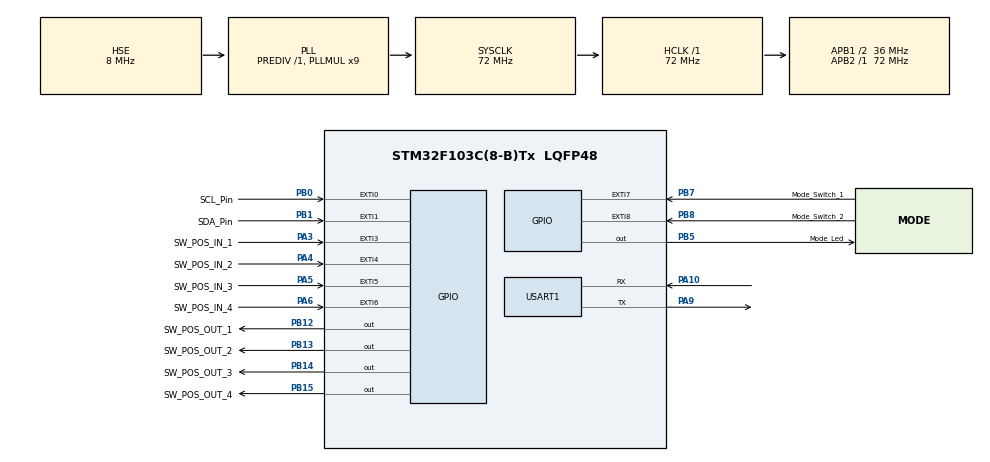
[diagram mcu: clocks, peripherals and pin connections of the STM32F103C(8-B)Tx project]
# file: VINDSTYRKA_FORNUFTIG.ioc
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Mcu.Family=STM32F1
Mcu.Name=STM32F103C(8-B)Tx
Mcu.Package=LQFP48
NVIC.EXTI0_IRQn=true\:0\:0\:false\:false\:true\:true\:true\:true
NVIC.EXTI1_IRQn=true\:0\:0\:false\:false\:true\:true\:true\:true
NVIC.EXTI3_IRQn=true\:0\:0\:false\:false\:true\:true\:true\:true
NVIC.EXTI4_IRQn=true\:0\:0\:false\:false\:true\:true\:true\:true
NVIC.EXTI9_5_IRQn=true\:0\:0\:false\:false\:true\:true\:true\:true
NVIC.PriorityGroup=NVIC_PRIORITYGROUP_4
PA10.Mode=Asynchronous
PA10.Signal=USART1_RX
PA13.Mode=Serial_Wire
PA13.Signal=SYS_JTMS-SWDIO
PA14.Mode=Serial_Wire
PA14.Signal=SYS_JTCK-SWCLK
PA3.GPIO_Label=SW_POS_IN_1
PA3.GPIO_ModeDefaultEXTI=GPIO_MODE_IT_FALLING
PA3.GPIO_PuPd=GPIO_PULLUP
PA3.Signal=GPXTI3
PA4.GPIO_Label=SW_POS_IN_2
PA4.GPIO_ModeDefaultEXTI=GPIO_MODE_IT_FALLING
PA4.GPIO_PuPd=GPIO_PULLUP
PA4.Signal=GPXTI4
PA5.GPIO_Label=SW_POS_IN_3
PA5.GPIO_ModeDefaultEXTI=GPIO_MODE_IT_FALLING
PA5.GPIO_PuPd=GPIO_PULLUP
PA5.Signal=GPXTI5
PA6.GPIO_Label=SW_POS_IN_4
PA6.GPIO_ModeDefaultEXTI=GPIO_MODE_IT_FALLING
PA6.GPIO_PuPd=GPIO_PULLUP
PA6.Signal=GPXTI6
PA9.Mode=Asynchronous
PA9.Signal=USART1_TX
PB0.GPIO_Label=SCL_Pin
PB0.Signal=GPXTI0
PB1.GPIO_Label=SDA_Pin
PB1.GPIO_ModeDefaultEXTI=GPIO_MODE_IT_FALLING
PB1.Signal=GPXTI1
PB12.GPIO_Label=SW_POS_OUT_1
PB12.GPIO_ModeDefaultOutputPP=GPIO_MODE_OUTPUT_OD
PB12.GPIO_PuPd=GPIO_NOPULL
PB12.PinState=GPIO_PIN_RESET
PB12.Signal=GPIO_Output
PB13.GPIO_Label=SW_POS_OUT_2
PB13.GPIO_ModeDefaultOutputPP=GPIO_MODE_OUTPUT_OD
PB13.GPIO_PuPd=GPIO_NOPULL
PB13.Signal=GPIO_Output
PB14.GPIO_Label=SW_POS_OUT_3
PB14.GPIO_ModeDefaultOutputPP=GPIO_MODE_OUTPUT_OD
PB14.GPIO_PuPd=GPIO_NOPULL
PB14.Signal=GPIO_Output
PB15.GPIO_Label=SW_POS_OUT_4
PB15.GPIO_ModeDefaultOutputPP=GPIO_MODE_OUTPUT_OD
PB15.GPIO_PuPd=GPIO_NOPULL
PB15.Signal=GPIO_Output
PB5.GPIO_Label=Mode_Led
PB5.Signal=GPIO_Output
PB7.GPIO_Label=Mode_Switch_1
PB7.GPIO_ModeDefaultEXTI=GPIO_MODE_IT_RISING_FALLING
PB7.GPIO_PuPd=GPIO_PULLUP
PB7.Signal=GPXTI7
PB8.GPIO_Label=Mode_Switch_2
PB8.GPIO_ModeDefaultEXTI=GPIO_MODE_IT_RISING_FALLING
PB8.GPIO_PuPd=GPIO_PULLUP
PB8.Signal=GPXTI8
PC14-OSC32_IN.Mode=LSE-External-Oscillator
PC14-OSC32_IN.Signal=RCC_OSC32_IN
PC15-OSC32_OUT.Mode=LSE-External-Oscillator
PC15-OSC32_OUT.Signal=RCC_OSC32_OUT
PD0-OSC_IN.Mode=HSE-External-Oscillator
PD0-OSC_IN.Signal=RCC_OSC_IN
PD1-OSC_OUT.Mode=HSE-External-Oscillator
PD1-OSC_OUT.Signal=RCC_OSC_OUT
ProjectManager.HeapSize=0x200
ProjectManager.StackSize=0x400
ProjectManager.TargetToolchain=STM32CubeIDE
RCC.AHBFreq_Value=72000000
RCC.APB1CLKDivider=RCC_HCLK_DIV2
RCC.APB1Freq_Value=36000000
RCC.APB1TimFreq_Value=72000000
RCC.APB2Freq_Value=72000000
RCC.APB2TimFreq_Value=72000000
RCC.HCLKFreq_Value=72000000
RCC.PLLMUL=RCC_PLL_MUL9
RCC.PLLSourceVirtual=RCC_PLLSOURCE_HSE
RCC.RTCClockSelection=RCC_RTCCLKSOURCE_LSE
RCC.SYSCLKFreq_VALUE=72000000
RCC.SYSCLKSource=RCC_SYSCLKSOURCE_PLLCLK
RCC.USBFreq_Value=72000000
USART1.VirtualMode=VM_ASYNC
board=custom

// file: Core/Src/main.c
/* USER CODE BEGIN Header */
/**
  ******************************************************************************
  * @file           : main.c
  * @brief          : Main program body
  ******************************************************************************
  * @attention
  *
  * Copyright (c) 2024 STMicroelectronics.
  * All rights reserved.
  *
  * This software is licensed under terms that can be found in the LICENSE file
  * in the root directory of this software component.
  * If no LICENSE file comes with this software, it is provided AS-IS.
  *
  ******************************************************************************
  */
/* USER CODE END Header */
#include "main.h"

/* USER CODE BEGIN Includes */
#include "stdbool.h"
#include "Com.h"

//#include "I2C_Sniffer.h"
/* USER CODE END Includes */

/* USER CODE BEGIN PTD */
struct __attribute__((packed)) Measurement_Data { //
	uint8_t Size;
	uint16_t PM10;
	uint8_t PM10_CS;
	uint16_t PM25;
	uint8_t PM25_CS;
	uint16_t PM40;
	uint8_t PM40_CS;
	uint16_t PM100;
	uint8_t PM100_CS;
	uint16_t HUM;
	uint8_t HUM_CS;
	uint16_t TEMP;
	uint8_t TEMP_CS;
	uint16_t VOC;
	uint8_t VOC_CS;
};
/* USER CODE END PTD */

/* USER CODE BEGIN PV */
uint8_t I2C_Reset_Counter = 0;

char bufferH_[ReceiveSize];				//physical location of data being handled
void *BufferH;							//pointer to location of data being handled

/* USER CODE END PV */

void SystemClock_Config(void);
static void MX_GPIO_Init(void);
static void MX_USART1_UART_Init(void);

/* USER CODE BEGIN 0 */

void Transmit(void* bufferT, uint8_t Length_p, USART_TypeDef* USART_P) // transmit info over uart debug port
  {
		volatile static uint8_t i;

		for (i = 0; i < Length_p; i++)
		{
			while ( !(READ_BIT(USART_P->SR, USART_SR_TXE)));
			USART_P->DR = *((uint8_t*)(bufferT+i));
		}

  }

void HAL_GPIO_EXTI_Callback(uint16_t GPIO_Pin)
{

	if( GPIO_Pin == SCL_Pin_Pin || GPIO_Pin == SDA_Pin_Pin )
	{
		Check_Interupt(GPIO_Pin);
		I2C_Reset_Counter = 0;
	}

	if ( GPIO_Pin == Mode_Switch_1_Pin || GPIO_Pin == Mode_Switch_2_Pin )
	{
		_EventSet_Mode_Switch_Update();
	}
	if ( GPIO_Pin == SW_POS_IN_1_Pin || GPIO_Pin == SW_POS_IN_2_Pin	|| GPIO_Pin == SW_POS_IN_3_Pin || GPIO_Pin == SW_POS_IN_4_Pin )
	{
		_EventSet_Speed_Switch_Update();
	}
}

void HAL_IncTick(void)
{
  uwTick += uwTickFreq;
	I2C_Reset_Counter++;
	if ( I2C_Reset_Counter > I2C_Reset_Count )
	{
		I2C_Reset_Counter = 0;
		_EventSet_I2C_Reset();
		//I2C_Timer_Reset();
	}
}

void Enable_Interupts(void)
{
	  HAL_NVIC_SetPriority(EXTI0_IRQn, 0, 0);
	  HAL_NVIC_EnableIRQ(EXTI0_IRQn);

	  HAL_NVIC_SetPriority(EXTI1_IRQn, 0, 0);
	  HAL_NVIC_EnableIRQ(EXTI1_IRQn);

	  HAL_NVIC_SetPriority(EXTI3_IRQn, 0, 0);
	  HAL_NVIC_EnableIRQ(EXTI3_IRQn);

	  HAL_NVIC_SetPriority(EXTI4_IRQn, 0, 0);
	  HAL_NVIC_EnableIRQ(EXTI4_IRQn);

	  HAL_NVIC_SetPriority(EXTI9_5_IRQn, 0, 0);
	  HAL_NVIC_EnableIRQ(EXTI9_5_IRQn);
}

/* USER CODE END 0 */

int main(void)
{

  /* USER CODE BEGIN 1 */
  _Init_Events();
  Init_Values();
  /* USER CODE END 1 */

  /* MCU Configuration--------------------------------------------------------*/

  /* Reset of all peripherals, Initializes the Flash interface and the Systick. */
  HAL_Init();

  /* Configure the system clock */
  SystemClock_Config();

  /* Initialize all configured peripherals */
  MX_GPIO_Init();
  MX_USART1_UART_Init();
  /* USER CODE BEGIN 2 */

  I2C_Init();
  InitCom();
  BufferH = &bufferH_;	//bind pointer to physical location
  /* USER CODE END 2 */

  /* Infinite loop */
  /* USER CODE BEGIN WHILE */
  _EventSet_Mode_Switch_Update();
  _EventSet_Speed_Switch_Update();
  //Enable_Interupts();
  while (1)
  {
	  while ( R_Pop(&BufferH) ) // check if an message is available in the circular buffer
	  {
		  volatile uint8_t size = *(uint8_t *)BufferH; // get the first byte from the buffer this holds the size of the packet
		  //size = size;
		  //Transmit((uint8_t *)BufferH, size, USART2); // transmit the buffer over the debug uart port
		  if (size == 21)
		  {
			  struct Measurement_Data *Measurement_Data = (void *) BufferH;
			  set_tvoc(Measurement_Data->VOC);
			  set_PM25(Measurement_Data->PM25);
			  set_PM1(Measurement_Data->PM10);
			  if ( Get_Device_Mode_State() != Manual)
				  _EventSet_Output_Update();
			  Transmit(Measurement_Data, sizeof(struct Measurement_Data), USART1); // transmit the buffer over the debug uart port
//			  Transmit((uint8_t *)BufferH, size + 1, USART2);
//			  Transmit((uint8_t *)(Measurement_Data->VOC), sizeof(Measurement_Data->VOC), USART1);
//			  Transmit((uint8_t *)(Measurement_Data->PM25), sizeof(Measurement_Data->PM25), USART1);
//			  Transmit((uint8_t *)(Measurement_Data->PM10), sizeof(Measurement_Data->PM10), USART1);
		  } // could make packets for all the data block but am to lazy
		 /* if (size == 9 || size == 12 || size == 21 || size == 3)
		  {
			  Transmit((uint8_t *)BufferH, size + 1, USART1);
		  }*/
	  }
	  Handle_Events();

    /* USER CODE END WHILE */

  }
}

void SystemClock_Config(void)
{
  RCC_OscInitTypeDef RCC_OscInitStruct = {0};
  RCC_ClkInitTypeDef RCC_ClkInitStruct = {0};

  /** Initializes the RCC Oscillators according to the specified parameters
  * in the RCC_OscInitTypeDef structure.
  */
  RCC_OscInitStruct.OscillatorType = RCC_OSCILLATORTYPE_HSE;
  RCC_OscInitStruct.HSEState = RCC_HSE_ON;
  RCC_OscInitStruct.HSEPredivValue = RCC_HSE_PREDIV_DIV1;
  RCC_OscInitStruct.HSIState = RCC_HSI_ON;
  RCC_OscInitStruct.PLL.PLLState = RCC_PLL_ON;
  RCC_OscInitStruct.PLL.PLLSource = RCC_PLLSOURCE_HSE;
  RCC_OscInitStruct.PLL.PLLMUL = RCC_PLL_MUL9;
  if (HAL_RCC_OscConfig(&RCC_OscInitStruct) != HAL_OK)
  {
    Error_Handler();
  }

  /** Initializes the CPU, AHB and APB buses clocks
  */
  RCC_ClkInitStruct.ClockType = RCC_CLOCKTYPE_HCLK|RCC_CLOCKTYPE_SYSCLK
                              |RCC_CLOCKTYPE_PCLK1|RCC_CLOCKTYPE_PCLK2;
  RCC_ClkInitStruct.SYSCLKSource = RCC_SYSCLKSOURCE_PLLCLK;
  RCC_ClkInitStruct.AHBCLKDivider = RCC_SYSCLK_DIV1;
  RCC_ClkInitStruct.APB1CLKDivider = RCC_HCLK_DIV2;
  RCC_ClkInitStruct.APB2CLKDivider = RCC_HCLK_DIV1;

  if (HAL_RCC_ClockConfig(&RCC_ClkInitStruct, FLASH_LATENCY_2) != HAL_OK)
  {
    Error_Handler();
  }
}

static void MX_USART1_UART_Init(void)
{

  LL_USART_InitTypeDef USART_InitStruct = {0};

  LL_GPIO_InitTypeDef GPIO_InitStruct = {0};

  /* Peripheral clock enable */
  LL_APB2_GRP1_EnableClock(LL_APB2_GRP1_PERIPH_USART1);

  LL_APB2_GRP1_EnableClock(LL_APB2_GRP1_PERIPH_GPIOA);
  /**USART1 GPIO Configuration
  PA9   ------> USART1_TX
  PA10   ------> USART1_RX
  */
  GPIO_InitStruct.Pin = LL_GPIO_PIN_9;
  GPIO_InitStruct.Mode = LL_GPIO_MODE_ALTERNATE;
  GPIO_InitStruct.Speed = LL_GPIO_SPEED_FREQ_HIGH;
  GPIO_InitStruct.OutputType = LL_GPIO_OUTPUT_PUSHPULL;
  LL_GPIO_Init(GPIOA, &GPIO_InitStruct);

  GPIO_InitStruct.Pin = LL_GPIO_PIN_10;
  GPIO_InitStruct.Mode = LL_GPIO_MODE_FLOATING;
  LL_GPIO_Init(GPIOA, &GPIO_InitStruct);

  USART_InitStruct.BaudRate = 115200;
  USART_InitStruct.DataWidth = LL_USART_DATAWIDTH_8B;
  USART_InitStruct.StopBits = LL_USART_STOPBITS_1;
  USART_InitStruct.Parity = LL_USART_PARITY_NONE;
  USART_InitStruct.TransferDirection = LL_USART_DIRECTION_TX_RX;
  USART_InitStruct.HardwareFlowControl = LL_USART_HWCONTROL_NONE;
  USART_InitStruct.OverSampling = LL_USART_OVERSAMPLING_16;
  LL_USART_Init(USART1, &USART_InitStruct);
  LL_USART_ConfigAsyncMode(USART1);
  LL_USART_Enable(USART1);

}

static void MX_GPIO_Init(void)
{
  GPIO_InitTypeDef GPIO_InitStruct = {0};

  /* GPIO Ports Clock Enable */
  __HAL_RCC_GPIOC_CLK_ENABLE();
  __HAL_RCC_GPIOD_CLK_ENABLE();
  __HAL_RCC_GPIOA_CLK_ENABLE();
  __HAL_RCC_GPIOB_CLK_ENABLE();

  /*Configure GPIO pin Output Level */
  HAL_GPIO_WritePin(GPIOB, SW_POS_OUT_1_Pin|SW_POS_OUT_2_Pin|SW_POS_OUT_3_Pin|SW_POS_OUT_4_Pin
                          |Mode_Led_Pin, GPIO_PIN_RESET);

  /*Configure GPIO pins : SW_POS_IN_1_Pin SW_POS_IN_2_Pin SW_POS_IN_3_Pin SW_POS_IN_4_Pin */
  GPIO_InitStruct.Pin = SW_POS_IN_1_Pin|SW_POS_IN_2_Pin|SW_POS_IN_3_Pin|SW_POS_IN_4_Pin;
  GPIO_InitStruct.Mode = GPIO_MODE_IT_FALLING;
  GPIO_InitStruct.Pull = GPIO_PULLUP;
  HAL_GPIO_Init(GPIOA, &GPIO_InitStruct);

  /*Configure GPIO pin : SCL_Pin_Pin */
  GPIO_InitStruct.Pin = SCL_Pin_Pin;
  GPIO_InitStruct.Mode = GPIO_MODE_IT_RISING;
  GPIO_InitStruct.Pull = GPIO_NOPULL;
  HAL_GPIO_Init(SCL_Pin_GPIO_Port, &GPIO_InitStruct);

  /*Configure GPIO pin : SDA_Pin_Pin */
  GPIO_InitStruct.Pin = SDA_Pin_Pin;
  GPIO_InitStruct.Mode = GPIO_MODE_IT_FALLING;
  GPIO_InitStruct.Pull = GPIO_NOPULL;
  HAL_GPIO_Init(SDA_Pin_GPIO_Port, &GPIO_InitStruct);

  /*Configure GPIO pins : SW_POS_OUT_1_Pin SW_POS_OUT_2_Pin SW_POS_OUT_3_Pin SW_POS_OUT_4_Pin */
  GPIO_InitStruct.Pin = SW_POS_OUT_1_Pin|SW_POS_OUT_2_Pin|SW_POS_OUT_3_Pin|SW_POS_OUT_4_Pin;
  GPIO_InitStruct.Mode = GPIO_MODE_OUTPUT_OD;
  GPIO_InitStruct.Pull = GPIO_NOPULL;
  GPIO_InitStruct.Speed = GPIO_SPEED_FREQ_LOW;
  HAL_GPIO_Init(GPIOB, &GPIO_InitStruct);

  /*Configure GPIO pin : Mode_Led_Pin */
  GPIO_InitStruct.Pin = Mode_Led_Pin;
  GPIO_InitStruct.Mode = GPIO_MODE_OUTPUT_PP;
  GPIO_InitStruct.Pull = GPIO_NOPULL;
  GPIO_InitStruct.Speed = GPIO_SPEED_FREQ_LOW;
  HAL_GPIO_Init(Mode_Led_GPIO_Port, &GPIO_InitStruct);

  /*Configure GPIO pins : Mode_Switch_1_Pin Mode_Switch_2_Pin */
  GPIO_InitStruct.Pin = Mode_Switch_1_Pin|Mode_Switch_2_Pin;
  GPIO_InitStruct.Mode = GPIO_MODE_IT_RISING_FALLING;
  GPIO_InitStruct.Pull = GPIO_PULLUP;
  HAL_GPIO_Init(GPIOB, &GPIO_InitStruct);

  /* EXTI interrupt init*/
  HAL_NVIC_SetPriority(EXTI0_IRQn, 0, 0);
  HAL_NVIC_EnableIRQ(EXTI0_IRQn);

  HAL_NVIC_SetPriority(EXTI1_IRQn, 0, 0);
  HAL_NVIC_EnableIRQ(EXTI1_IRQn);

  HAL_NVIC_SetPriority(EXTI3_IRQn, 0, 0);
  HAL_NVIC_EnableIRQ(EXTI3_IRQn);

  HAL_NVIC_SetPriority(EXTI4_IRQn, 0, 0);
  HAL_NVIC_EnableIRQ(EXTI4_IRQn);

  HAL_NVIC_SetPriority(EXTI9_5_IRQn, 0, 0);
  HAL_NVIC_EnableIRQ(EXTI9_5_IRQn);

}

void Error_Handler(void)
{
  __disable_irq();
  while (1)
  {
  }
}
